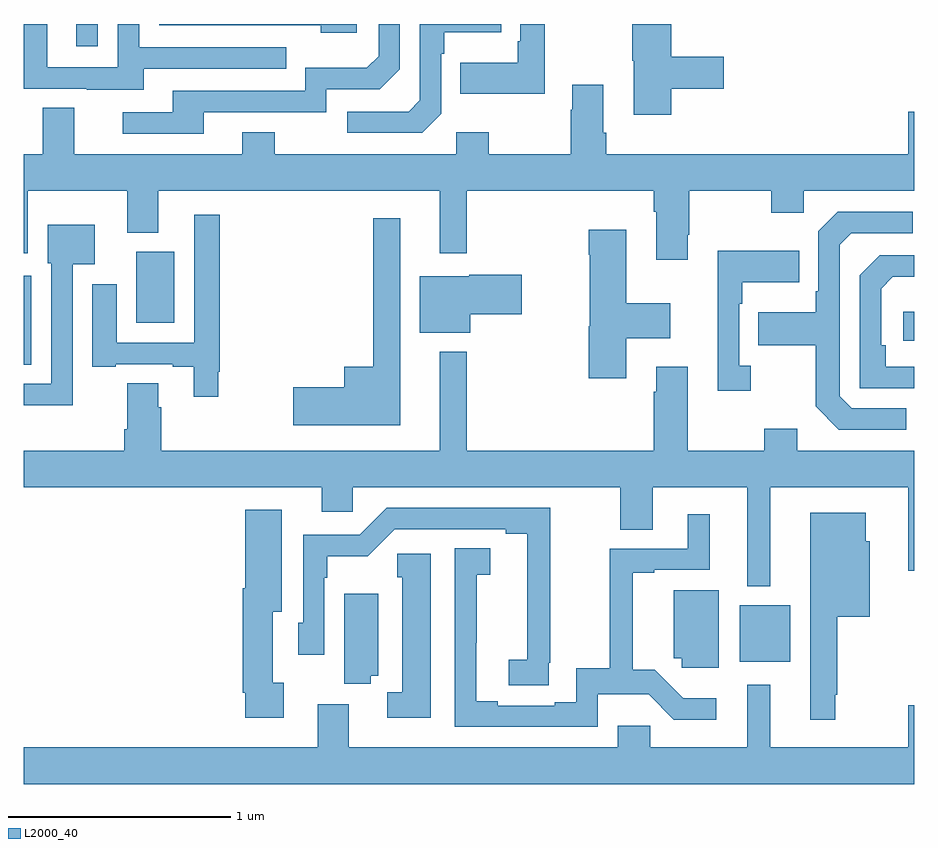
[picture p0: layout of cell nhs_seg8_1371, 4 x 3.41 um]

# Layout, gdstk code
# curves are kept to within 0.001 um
import gdstk
lib = gdstk.Library(unit=1e-6, precision=1e-09)
def R(c, l, rs):  # rectangles x0, y0, x1, y1
    for r in rs: c.add(gdstk.rectangle(r[:2], r[2:], *l))
def P(c, l, *ps):  # polygons
    for p in ps: c.add(gdstk.Polygon(p, *l))
L2000_40 = (2000, 40)

nhs_seg8_1371 = lib.new_cell('nhs_seg8_1371')
R(nhs_seg8_1371, L2000_40, [(200.216,1129.037,200.443,1129.291), (197,1130.371,197.035,1130.77), (200.949,1130.478,201,1130.608), (197.507,1130.558,197.677,1130.878), (197.237,1131.801,197.334,1131.9)])
P(nhs_seg8_1371, L2000_40, [(197.809,1131.504),(198.36,1131.504),(198.36,1131.606),(198.6,1131.606),(198.69,1131.696),(198.69,1131.9),(198.594,1131.9),(198.594,1131.756),(198.541,1131.703),(198.264,1131.703),(198.264,1131.6),(197.669,1131.6),(197.669,1131.504),(197.445,1131.504),(197.445,1131.408),(197.809,1131.408)],
  [(198.876,1131.498),(198.876,1131.767),(198.889,1131.767),(198.889,1131.863),(199.145,1131.863),(199.145,1131.9),(198.78,1131.9),(198.78,1131.558),(198.729,1131.507),(198.453,1131.507),(198.453,1131.411),(198.789,1131.411)],
  [(199.339,1131.9),(199.23,1131.9),(199.23,1131.823),(199.218,1131.823),(199.218,1131.727),(198.961,1131.727),(198.961,1131.587),(199.339,1131.587)],
  [(197.539,1131.699),(198.179,1131.699),(198.179,1131.795),(197.52,1131.795),(197.52,1131.9),(197.424,1131.9),(197.424,1131.705),(197.106,1131.705),(197.106,1131.9),(197,1131.9),(197,1131.609),(197.285,1131.609),(197.285,1131.605),(197.539,1131.605)],
  [(198.496,1131.9),(197.61,1131.9),(197.61,1131.894),(198.335,1131.894),(198.335,1131.86),(198.496,1131.86)],
  [(199.907,1131.61),(200.143,1131.61),(200.143,1131.752),(199.907,1131.752),(199.907,1131.9),(199.732,1131.9),(199.732,1131.735),(199.739,1131.735),(199.739,1131.492),(199.907,1131.492)],
  [(197.465,1130.963),(197.605,1130.963),(197.605,1131.152),(198.869,1131.152),(198.869,1130.871),(198.991,1130.871),(198.991,1131.152),(199.829,1131.152),(199.829,1131.056),(199.841,1131.056),(199.841,1130.841),(199.981,1130.841),(199.981,1130.953),(199.989,1130.953),(199.989,1131.152),(200.356,1131.152),(200.356,1131.053),(200.502,1131.053),(200.502,1131.152),(201,1131.152),(201,1131.505),(200.972,1131.505),(200.972,1131.316),(199.616,1131.316),(199.616,1131.412),(199.603,1131.412),(199.603,1131.628),(199.463,1131.628),(199.463,1131.515),(199.456,1131.515),(199.456,1131.316),(199.089,1131.316),(199.089,1131.415),(198.942,1131.415),(198.942,1131.316),(198.129,1131.316),(198.129,1131.415),(197.981,1131.415),(197.981,1131.316),(197.227,1131.316),(197.227,1131.524),(197.087,1131.524),(197.087,1131.316),(197,1131.316),(197,1130.871),(197.02,1130.871),(197.02,1131.152),(197.465,1131.152)],
  [(200.962,1130.175),(200.718,1130.175),(200.664,1130.229),(200.664,1130.91),(200.715,1130.961),(200.992,1130.961),(200.992,1131.057),(200.655,1131.057),(200.568,1130.97),(200.568,1130.701),(200.556,1130.701),(200.556,1130.605),(200.299,1130.605),(200.299,1130.458),(200.556,1130.458),(200.556,1130.185),(200.661,1130.079),(200.962,1130.079)],
  [(197.875,1130.338),(197.882,1130.338),(197.882,1131.043),(197.766,1131.043),(197.766,1130.469),(197.419,1130.469),(197.419,1130.731),(197.309,1130.731),(197.309,1130.361),(197.413,1130.361),(197.413,1130.373),(197.669,1130.373),(197.669,1130.361),(197.765,1130.361),(197.765,1130.226),(197.875,1130.226)],
  [(198.691,1131.028),(198.57,1131.028),(198.57,1130.362),(198.44,1130.362),(198.44,1130.27),(198.21,1130.27),(198.21,1130.099),(198.691,1130.099)],
  [(197.22,1130.822),(197.32,1130.822),(197.32,1130.998),(197.108,1130.998),(197.108,1130.826),(197.124,1130.826),(197.124,1130.286),(197,1130.286),(197,1130.189),(197.22,1130.189)],
  [(199.705,1130.489),(199.903,1130.489),(199.903,1130.647),(199.705,1130.647),(199.705,1130.977),(199.538,1130.977),(199.538,1130.864),(199.543,1130.864),(199.543,1130.543),(199.538,1130.543),(199.538,1130.31),(199.705,1130.31)],
  [(200.266,1130.366),(200.214,1130.366),(200.214,1130.645),(200.227,1130.645),(200.227,1130.741),(200.483,1130.741),(200.483,1130.881),(200.117,1130.881),(200.117,1130.253),(200.266,1130.253)],
  [(201,1130.361),(200.87,1130.361),(200.87,1130.458),(200.85,1130.458),(200.85,1130.712),(200.903,1130.765),(201,1130.765),(201,1130.862),(200.844,1130.862),(200.754,1130.772),(200.754,1130.265),(201,1130.265)],
  [(199.006,1130.597),(199.237,1130.597),(199.237,1130.775),(199.002,1130.775),(199.002,1130.767),(198.779,1130.767),(198.779,1130.513),(199.006,1130.513)],
  [(200.353,1129.82),(200.972,1129.82),(200.972,1129.446),(201,1129.446),(201,1129.984),(200.473,1129.984),(200.473,1130.083),(200.326,1130.083),(200.326,1129.984),(199.981,1129.984),(199.981,1130.362),(199.841,1130.362),(199.841,1130.249),(199.829,1130.249),(199.829,1129.984),(198.991,1129.984),(198.991,1130.428),(198.869,1130.428),(198.869,1129.984),(197.618,1129.984),(197.618,1130.18),(197.605,1130.18),(197.605,1130.288),(197.465,1130.288),(197.465,1130.08),(197.453,1130.08),(197.453,1129.984),(197,1129.984),(197,1129.82),(198.338,1129.82),(198.338,1129.71),(198.477,1129.71),(198.477,1129.82),(199.678,1129.82),(199.678,1129.63),(199.825,1129.63),(199.825,1129.82),(200.249,1129.82),(200.249,1129.376),(200.353,1129.376)],
  [(199.358,1129.033),(199.364,1129.033),(199.364,1129.728),(198.63,1129.728),(198.51,1129.608),(198.255,1129.608),(198.255,1129.212),(198.234,1129.212),(198.234,1129.068),(198.351,1129.068),(198.351,1129.415),(198.364,1129.415),(198.364,1129.511),(198.545,1129.511),(198.666,1129.632),(199.166,1129.632),(199.166,1129.612),(199.262,1129.612),(199.261,1129.046),(199.179,1129.046),(199.179,1128.931),(199.358,1128.931)],
  [(198.169,1128.942),(198.118,1128.942),(198.118,1129.262),(198.16,1129.262),(198.16,1129.72),(197.996,1129.72),(197.996,1129.366),(197.984,1129.366),(197.984,1128.898),(197.996,1128.898),(197.996,1128.786),(198.169,1128.786)],
  [(200.645,1128.889),(200.653,1128.889),(200.653,1129.238),(200.8,1129.238),(200.8,1129.578),(200.782,1129.578),(200.782,1129.705),(200.531,1129.705),(200.531,1128.777),(200.645,1128.777)],
  [(199.578,1128.89),(199.807,1128.89),(199.92,1128.777),(200.11,1128.777),(200.11,1128.874),(199.961,1128.874),(199.835,1129),(199.736,1129),(199.736,1129.437),(199.831,1129.437),(199.831,1129.449),(200.08,1129.449),(200.08,1129.699),(199.982,1129.699),(199.982,1129.545),(199.633,1129.545),(199.633,1129.007),(199.482,1129.007),(199.482,1128.854),(199.385,1128.854),(199.385,1128.84),(199.129,1128.84),(199.129,1128.86),(199.033,1128.86),(199.033,1129.123),(199.035,1129.123),(199.035,1129.427),(199.096,1129.427),(199.096,1129.547),(198.936,1129.547),(198.936,1128.744),(199.578,1128.744)],
  [(198.829,1129.522),(198.679,1129.522),(198.679,1129.416),(198.701,1129.416),(198.701,1128.9),(198.633,1128.9),(198.633,1128.785),(198.829,1128.785)],
  [(200.122,1129.357),(199.919,1129.357),(199.919,1129.052),(199.956,1129.052),(199.956,1129.01),(200.122,1129.01)],
  [(198.56,1128.974),(198.592,1128.974),(198.592,1129.342),(198.44,1129.342),(198.44,1128.937),(198.56,1128.937)],
  [(200.249,1128.934),(200.249,1128.652),(199.814,1128.652),(199.814,1128.75),(199.667,1128.75),(199.667,1128.652),(198.46,1128.652),(198.46,1128.847),(198.32,1128.847),(198.32,1128.652),(197,1128.652),(197,1128.488),(201,1128.488),(201,1128.841),(200.972,1128.841),(200.972,1128.652),(200.353,1128.652),(200.353,1128.934)])

lib.write_gds('nhs_seg8_1371.gds')
